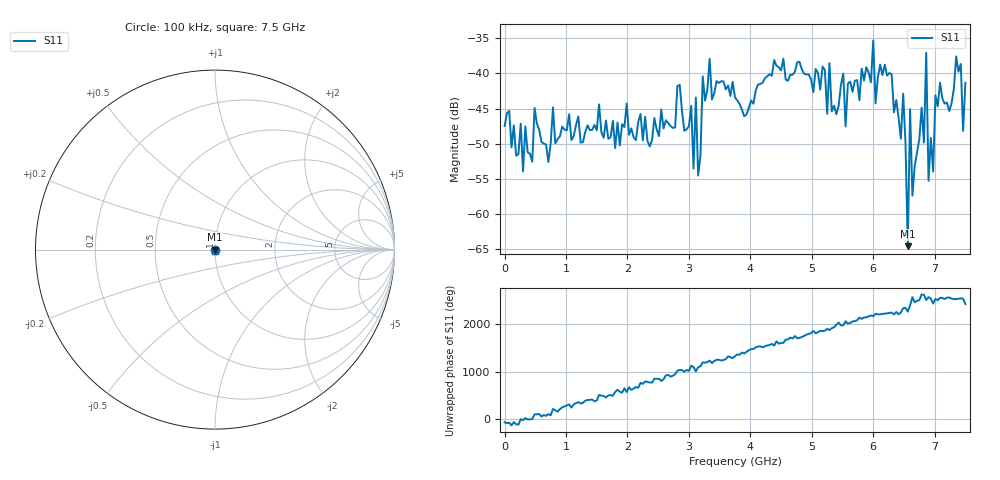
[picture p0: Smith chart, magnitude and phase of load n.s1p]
# Hz S RI R 50.000000
! FREQ  re:S1  1  im:S1  1
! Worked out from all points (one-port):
!   201 points, 100 kHz to 7.5 GHz, reference 50 ohm
!   lowest |S11| = -64.6 dB at 6.562 GHz (marker M1), VSWR 1.00, Z = 50 + j0.0553 ohm
!   |S11| at or under -10 dB: start of sweep to end of sweep
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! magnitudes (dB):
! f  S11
! 100 kHz  -47.5
! 937.6 MHz  -47.6
! 1.875 GHz  -50.3
! 2.813 GHz  -41.8
! 3.038 GHz  -44.6
! 3.075 GHz  -53.6
! 3.113 GHz  -43.4
! 3.15 GHz  -54.5
! 3.225 GHz  -40.4
! 3.338 GHz  -37.9
! 3.75 GHz  -43.4
! 4.687 GHz  -40.2
! 5.55 GHz  -47.6
! 5.625 GHz  -41.2
! 6 GHz  -35.3
! 6.037 GHz  -44.3
! 6.487 GHz  -42.9
! 6.562 GHz  -64.6
! 6.6 GHz  -45.1
! 6.637 GHz  -57.4
! 6.787 GHz  -44.9
! 6.825 GHz  -49.8
! 6.862 GHz  -37.1
! 6.9 GHz  -55.3
! 7.087 GHz  -41.3
! 7.425 GHz  -38.6
! 7.462 GHz  -48.2
! 7.5 GHz  -41.3
